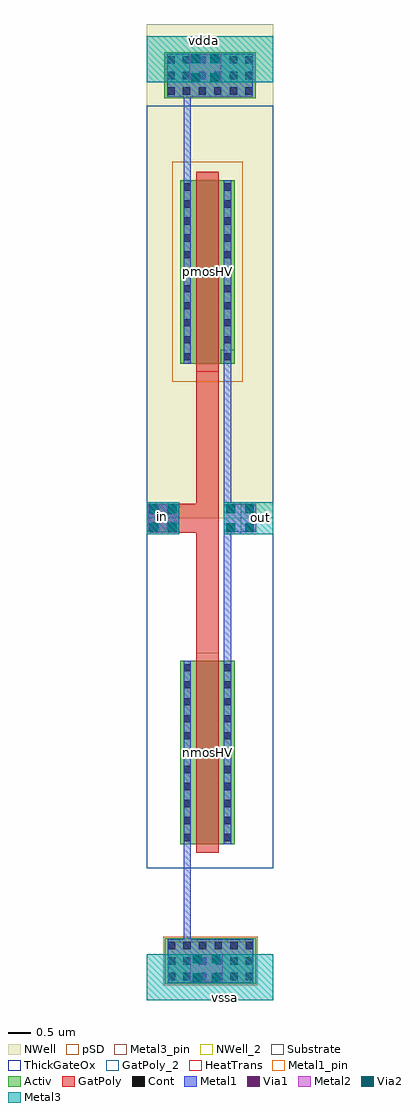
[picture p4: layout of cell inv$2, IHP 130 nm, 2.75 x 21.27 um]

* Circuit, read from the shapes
.subckt inv$2 in out vdda vssa
XM1 out in vssa vssa sg13_hv_nmos w=4u l=0.5u
XM2 out in vdda vdda sg13_hv_pmos w=4u l=0.5u
.ends

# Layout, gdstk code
import gdstk
lib = gdstk.Library(unit=1e-6, precision=1e-09)
def R(c, l, rs):  # rectangles x0, y0, x1, y1
    for r in rs: c.add(gdstk.rectangle(r[:2], r[2:], *l))
def A(c, l, x, y, w, h, nx, ny, dx, dy):  # array of equal rectangles
    R(c, l, [(x+i*dx, y+j*dy, x+i*dx+w, y+j*dy+h) for i in range(nx) for j in range(ny)])
Activ = (1, 0)
GatPoly = (5, 0)
GatPoly_2 = (5, 2)
Cont = (6, 0)
Metal1 = (8, 0)
Metal1_pin = (8, 2)
Metal2 = (10, 0)
pSD = (14, 0)
Via1 = (19, 0)
Via2 = (29, 0)
Metal3 = (30, 0)
Metal3_pin = (30, 2)
NWell = (31, 0)
NWell_2 = (31, 2)
Substrate = (40, 0)
ThickGateOx = (44, 0)
HeatTrans = (51, 0)

inv_2 = lib.new_cell('inv$2')
R(inv_2, Activ, [(0.385,-0.15,2.385,0.85), (0.73,2.89,1.03,3.19), (0.73,2.89,1.91,6.89), (1.61,2.89,1.91,3.19), (0.73,13.37,1.03,13.67), (0.73,13.37,1.91,17.37), (1.61,13.37,1.91,13.67), (0.375,19.15,2.375,20.15)])
R(inv_2, GatPoly, [(1.07,2.71,1.57,7.07), (1.07,5.48,1.57,14.495), (0.03,9.68,1.07,10.32), (0.03,9.68,0.67,10.32), (1.07,13.19,1.57,17.55)])
R(inv_2, GatPoly_2, [(1.07,2.71,1.57,7.07), (1.07,13.19,1.57,17.55)])
A(inv_2, Cont, 0.455, -0.07, 0.16, 0.16, 6, 3, 0.34, 0.34)
A(inv_2, Cont, 0.8, 2.96, 0.16, 0.16, 1, 11, 0, 0.37)
A(inv_2, Cont, 1.68, 2.96, 0.16, 0.16, 1, 11, 0, 0.37)
A(inv_2, Cont, 0.8, 13.44, 0.16, 0.16, 1, 11, 0, 0.37)
A(inv_2, Cont, 1.68, 13.44, 0.16, 0.16, 1, 11, 0, 0.37)
A(inv_2, Cont, 0.445, 19.23, 0.16, 0.16, 6, 3, 0.34, 0.34)
R(inv_2, Cont, [(0.1,9.75,0.26,9.91), (0.44,9.75,0.6,9.91), (0.1,10.09,0.26,10.25), (0.44,10.09,0.6,10.25)])
R(inv_2, Metal1, [(0.455,-0.12,2.315,0.82), (0.8,-0.12,0.96,5.555), (0.95,-0.12,1.65,0.5), (0.455,-0.07,2.315,0.77), (0.8,2.89,0.96,6.89), (1.68,2.89,1.84,17.37), (1.68,2.89,1.84,6.89), (0,9.69,0.7,10.31), (1.68,9.69,2.38,10.31), (0.8,13.37,0.96,17.37), (1.68,13.37,1.84,17.37), (0.8,14.37,0.96,20.12), (0.445,19.18,2.305,20.12), (0.92,19.5,1.62,20.12)])
R(inv_2, Metal1_pin, [(0.455,-0.07,2.315,0.77), (0.8,2.89,0.96,6.89), (1.68,2.89,1.84,6.89), (0.8,13.37,0.96,17.37), (1.68,13.37,1.84,17.37), (0.445,19.18,2.305,20.12), (0.445,19.23,2.305,20.07)])
R(inv_2, Metal2, [(0.95,-0.115,1.65,0.495), (0,9.695,0.7,10.305), (1.68,9.695,2.38,10.305), (0.92,19.505,1.62,20.115)])
R(inv_2, pSD, [(0.355,-0.18,2.415,0.88), (0.55,12.97,2.09,17.77)])
R(inv_2, Via1, [(1,-0.11,1.19,0.08), (1.41,-0.11,1.6,0.08), (1,0.3,1.19,0.49), (1.41,0.3,1.6,0.49), (0.05,9.7,0.24,9.89), (0.46,9.7,0.65,9.89), (1.73,9.7,1.92,9.89), (2.14,9.7,2.33,9.89), (0.05,10.11,0.24,10.3), (0.46,10.11,0.65,10.3), (1.73,10.11,1.92,10.3), (2.14,10.11,2.33,10.3), (0.97,19.51,1.16,19.7), (1.38,19.51,1.57,19.7), (0.97,19.92,1.16,20.11), (1.38,19.92,1.57,20.11)])
R(inv_2, Via2, [(1,-0.11,1.19,0.08), (1.41,-0.11,1.6,0.08), (1,0.3,1.19,0.49), (1.41,0.3,1.6,0.49), (0.05,9.7,0.24,9.89), (0.46,9.7,0.65,9.89), (1.73,9.7,1.92,9.89), (2.14,9.7,2.33,9.89), (0.05,10.11,0.24,10.3), (0.46,10.11,0.65,10.3), (1.73,10.11,1.92,10.3), (2.14,10.11,2.33,10.3), (0.97,19.51,1.16,19.7), (1.38,19.51,1.57,19.7), (0.97,19.92,1.16,20.11), (1.38,19.92,1.57,20.11)])
R(inv_2, Metal3, [(0,-0.5,2.75,0.5), (0.95,-0.115,1.65,0.495), (0,9.65,0.7,10.35), (0,9.695,0.7,10.305), (1.68,9.695,2.38,10.305), (0,19.5,2.75,20.5), (0.92,19.505,1.62,20.115)])
R(inv_2, Metal3_pin, [(0,-0.5,2.75,0.5), (0,9.65,0.7,10.35), (2.05,9.65,2.75,10.35), (0,19.5,2.75,20.5)])
R(inv_2, NWell, [(0,10,2.75,20.77), (0.11,12.75,2.53,17.99), (0.135,18.91,2.615,20.39), (0.375,19.15,2.375,20.15)])
R(inv_2, NWell_2, [(0.375,19.15,2.375,20.15)])
R(inv_2, Substrate, [(0.385,-0.15,2.385,0.85), (1.61,13.37,1.91,13.67)])
R(inv_2, ThickGateOx, [(0,2.37,2.75,18.99), (0.46,2.37,2.18,7.41), (0.11,12.75,2.53,17.99)])
R(inv_2, HeatTrans, [(1.07,2.71,1.57,7.07), (1.07,13.19,1.57,17.55)])
inv_2.add(gdstk.FlexPath([(1.68,10),(2.75,10),(2.75,10)], 0.7, ends="flush", simple_path=True, layer=30, datatype=0))  # Metal3
inv_2.add(gdstk.Label('pmosHV', (1.32,15.37), layer=63, texttype=0))
inv_2.add(gdstk.Label('nmosHV', (1.32,4.89), layer=63, texttype=0))
inv_2.add(gdstk.Label('pmos', (1.32,15.37), layer=51, texttype=0))
inv_2.add(gdstk.Label('nmosHV', (1.32,4.89), layer=51, texttype=0))
inv_2.add(gdstk.Label('vdda', (1.234,20.419), layer=30, texttype=25))
inv_2.add(gdstk.Label('vssa', (1.698,-0.452), layer=30, texttype=25))
inv_2.add(gdstk.Label('out', (2.465,10.02), layer=30, texttype=25))
inv_2.add(gdstk.Label('in', (0.35,10.04), layer=30, texttype=25))

lib.write_gds('inv_2.gds')
